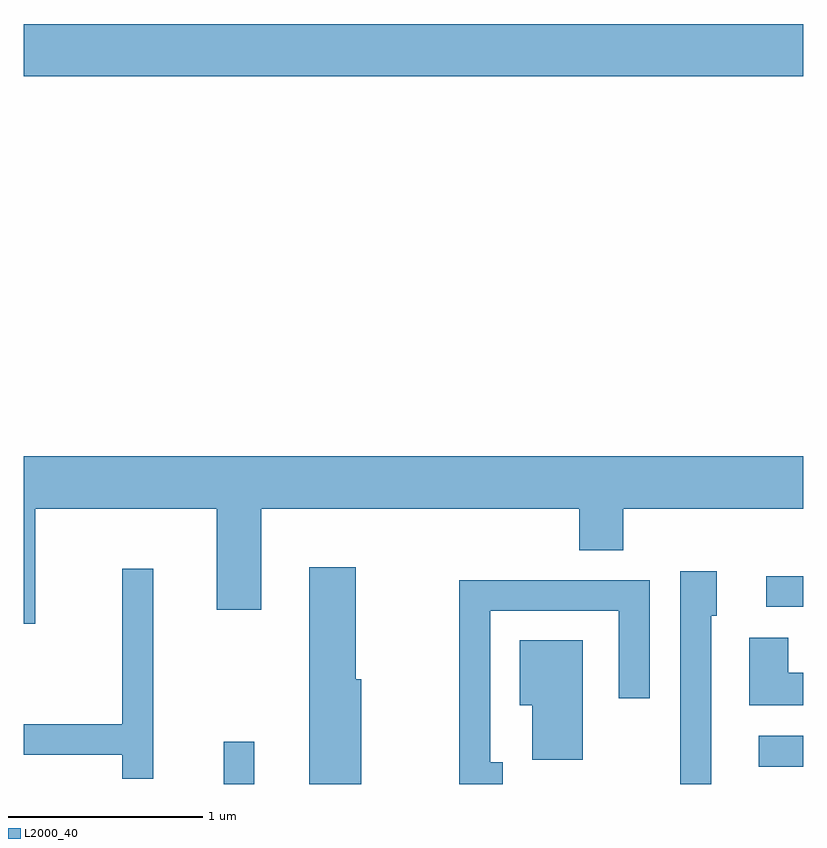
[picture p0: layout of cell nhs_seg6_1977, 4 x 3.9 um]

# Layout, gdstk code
import gdstk
lib = gdstk.Library(unit=1e-6, precision=1e-09)
def R(c, l, rs):  # rectangles x0, y0, x1, y1
    for r in rs: c.add(gdstk.rectangle(r[:2], r[2:], *l))
def P(c, l, *ps):  # polygons
    for p in ps: c.add(gdstk.Polygon(p, *l))
L2000_40 = (2000, 40)

nhs_seg6_1977 = lib.new_cell('nhs_seg6_1977')
R(nhs_seg6_1977, L2000_40, [(246.636,1564.162,246.794,1564.378), (249.383,1564.251,249.611,1564.409), (249.423,1565.071,249.611,1565.229), (245.611,1567.796,249.611,1568.064)])
P(nhs_seg6_1977, L2000_40, [(245.669,1565.576),(246.601,1565.576),(246.601,1565.056),(246.829,1565.056),(246.829,1565.576),(248.461,1565.576),(248.461,1565.361),(248.689,1565.361),(248.689,1565.576),(249.611,1565.576),(249.611,1565.844),(245.611,1565.844),(245.611,1564.986),(245.669,1564.986)],
  [(247.344,1564.699),(247.314,1564.699),(247.314,1565.274),(247.076,1565.274),(247.076,1564.162),(247.344,1564.162)],
  [(246.274,1565.268),(246.116,1565.268),(246.116,1564.469),(245.611,1564.469),(245.611,1564.311),(246.116,1564.311),(246.116,1564.188),(246.274,1564.188)],
  [(249.139,1565.026),(249.169,1565.026),(249.169,1565.254),(248.981,1565.254),(248.981,1564.162),(249.139,1564.162)],
  [(248.069,1564.274),(248.004,1564.274),(248.004,1565.051),(248.666,1565.051),(248.666,1564.603),(248.824,1564.603),(248.824,1565.209),(247.846,1565.209),(247.846,1564.162),(248.069,1564.162)],
  [(249.611,1564.734),(249.534,1564.734),(249.534,1564.914),(249.336,1564.914),(249.336,1564.566),(249.611,1564.566)],
  [(248.479,1564.899),(248.156,1564.899),(248.156,1564.566),(248.221,1564.566),(248.221,1564.286),(248.479,1564.286)])

lib.write_gds('nhs_seg6_1977.gds')
